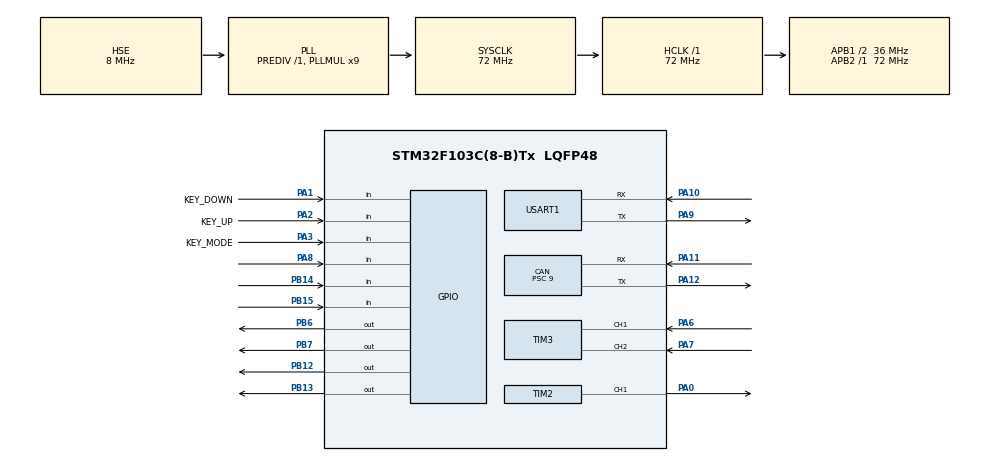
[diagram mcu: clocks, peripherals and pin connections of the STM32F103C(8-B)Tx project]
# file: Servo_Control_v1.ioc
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CAN.BS1=CAN_BS1_5TQ
CAN.BS2=CAN_BS2_2TQ
CAN.CalculateBaudRate=500000
CAN.CalculateTimeBit=2000
CAN.CalculateTimeQuantum=250.0
CAN.Prescaler=9
Mcu.Family=STM32F1
Mcu.Name=STM32F103C(8-B)Tx
Mcu.Package=LQFP48
NVIC.PriorityGroup=NVIC_PRIORITYGROUP_4
NVIC.TIM1_UP_IRQn=true\:0\:0\:false\:false\:true\:true\:true\:true
PA0-WKUP.Signal=S_TIM2_CH1_ETR
PA1.GPIO_Label=KEY_DOWN
PA1.GPIO_PuPd=GPIO_PULLUP
PA1.Signal=GPIO_Input
PA10.Mode=Asynchronous
PA10.Signal=USART1_RX
PA11.Mode=CAN_Activate
PA11.Signal=CAN_RX
PA12.Mode=CAN_Activate
PA12.Signal=CAN_TX
PA13.Mode=Serial_Wire
PA13.Signal=SYS_JTMS-SWDIO
PA14.Mode=Serial_Wire
PA14.Signal=SYS_JTCK-SWCLK
PA2.GPIO_Label=KEY_UP
PA2.GPIO_PuPd=GPIO_PULLUP
PA2.Signal=GPIO_Input
PA3.GPIO_Label=KEY_MODE
PA3.GPIO_PuPd=GPIO_PULLUP
PA3.Signal=GPIO_Input
PA6.Signal=S_TIM3_CH1
PA7.Signal=S_TIM3_CH2
PA8.GPIO_PuPd=GPIO_PULLUP
PA8.Signal=GPIO_Input
PA9.Mode=Asynchronous
PA9.Signal=USART1_TX
PB12.Signal=GPIO_Output
PB13.Signal=GPIO_Output
PB14.GPIO_PuPd=GPIO_PULLUP
PB14.Signal=GPIO_Input
PB15.GPIO_PuPd=GPIO_PULLUP
PB15.Signal=GPIO_Input
PB6.GPIO_ModeDefaultOutputPP=GPIO_MODE_OUTPUT_OD
PB6.GPIO_PuPd=GPIO_NOPULL
PB6.Signal=GPIO_Output
PB7.GPIO_ModeDefaultOutputPP=GPIO_MODE_OUTPUT_OD
PB7.GPIO_PuPd=GPIO_NOPULL
PB7.Signal=GPIO_Output
PD0-OSC_IN.Mode=HSE-External-Oscillator
PD0-OSC_IN.Signal=RCC_OSC_IN
PD1-OSC_OUT.Mode=HSE-External-Oscillator
PD1-OSC_OUT.Signal=RCC_OSC_OUT
ProjectManager.HeapSize=0x200
ProjectManager.StackSize=0x400
ProjectManager.TargetToolchain=MDK-ARM V5.32
RCC.AHBFreq_Value=72000000
RCC.APB1CLKDivider=RCC_HCLK_DIV2
RCC.APB1Freq_Value=36000000
RCC.APB1TimFreq_Value=72000000
RCC.APB2Freq_Value=72000000
RCC.APB2TimFreq_Value=72000000
RCC.HCLKFreq_Value=72000000
RCC.PLLMUL=RCC_PLL_MUL9
RCC.PLLSourceVirtual=RCC_PLLSOURCE_HSE
RCC.SYSCLKFreq_VALUE=72000000
RCC.SYSCLKSource=RCC_SYSCLKSOURCE_PLLCLK
RCC.USBFreq_Value=72000000
SH.S_TIM2_CH1_ETR.0=TIM2_CH1,PWM Generation1 CH1
SH.S_TIM3_CH1.0=TIM3_CH1,Encoder_Interface
SH.S_TIM3_CH2.0=TIM3_CH2,Encoder_Interface
TIM1.Period=999
TIM1.Prescaler=71
TIM2.Channel-PWM\ Generation1\ CH1=TIM_CHANNEL_1
TIM2.Period=7199
TIM3.EncoderMode=TIM_ENCODERMODE_TI12
TIM3.IC1Filter=4
TIM3.IC2Filter=10
USART1.VirtualMode=VM_ASYNC
VP_TIM1_VS_ClockSourceINT.Mode=Internal
board=custom

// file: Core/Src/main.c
/* USER CODE BEGIN Header */
/**
  ******************************************************************************
  * @file           : main.c
  * @brief          : Main program body (Modularized Version)
  ******************************************************************************
  */
/* USER CODE END Header */
#include "main.h"
#include "can.h"
#include "tim.h"
#include "usart.h"
#include "gpio.h"

/* USER CODE BEGIN Includes */
#include "OLED.h"
#include "motor.h"
#include "key.h"
#include "vofa.h"

#include "app_ui.h"
#include "app_ctrl.h"

#include <stdio.h>
#include <math.h> // fmod
/* USER CODE END Includes */

/* USER CODE BEGIN PV */
uint32_t lcd_timer = 0;  // 屏幕刷新计时
uint32_t vofa_timer = 0; // 上位机发送计时
/* USER CODE END PV */

void SystemClock_Config(void);

int main(void)
{

  /* MCU Configuration--------------------------------------------------------*/

  /* Reset of all peripherals, Initializes the Flash interface and the Systick. */
  HAL_Init();

  /* Configure the system clock */
  SystemClock_Config();

  /* Initialize all configured peripherals */
  MX_GPIO_Init();
  MX_CAN_Init();
  MX_TIM1_Init();
  MX_TIM2_Init();
  MX_USART1_UART_Init();
  MX_TIM3_Init();
  /* USER CODE BEGIN 2 */

  // --- 硬件初始化 ---
  OLED_Init();
  OLED_Clear();
  Motor_Init();

  // 设定 PWM 频率为 20kHz (静音)
  __HAL_TIM_SET_AUTORELOAD(&htim2, 3599);

  // --- 软件模块初始化 ---
  App_Ctrl_Init(); // 初始化 PID 和变量

  // --- 绘制 UI 静态框架 ---
  OLED_ShowString(0, 0, "PID Servo", OLED_8X16);
  OLED_ShowString(0, 16, "Tgt:", OLED_8X16);
  OLED_ShowString(0, 32, "Cur:", OLED_8X16);
  OLED_ShowString(0, 48, "PWM:", OLED_8X16);
  OLED_Update();

  // --- 启动定时器中断 (心脏开始跳动) ---
  HAL_TIM_Base_Start_IT(&htim1);

  /* USER CODE END 2 */

  /* Infinite loop */
  while (1)
  {

    /* USER CODE BEGIN 3 */
      // =========================================================
      // 1. 按键处理 (只负责发令)
      // =========================================================
      uint8_t key = Key_Scan(); // 扫描按键

      // 情况 A: 短按 Mode 键 -> 切换模式
      if (key == KEY_MODE_SHORT)
      {
          // 强制类型转换消除警告
          App_Ctrl_SetMode((SystemMode_t)(current_mode + 1));
          OLED_Clear(); // 刷屏
      }
      // 情况 B: 其他有效按键 (长按Mode, 短按/长按 Up/Down)
      else if (key != KEY_NONE)
      {
          // 全部甩给 app_ctrl.c 里的逻辑去处理
          // 那里包含了：一键回原点、演示模式、速度跳变等逻辑
          App_Ctrl_KeyHandler(key);
      }
      // =========================================================
      // 2. 屏幕显示 (只负责显示)
      // =========================================================
      if (HAL_GetTick() - lcd_timer > 100)
      {
          lcd_timer = HAL_GetTick();
          App_UI_Refresh();
      }

      // =========================================================
      // 3. 上位机波形发送
      // =========================================================
      if (HAL_GetTick() - vofa_timer > 10)
      {
          vofa_timer = HAL_GetTick();
          float send_tgt = (current_mode == MODE_POS) ? target_val_pos : target_val_spd;
          VOFA_JustFloat(send_tgt, g_MotorState.total_angle, g_MotorState.current_speed);
      }
  }
  /* USER CODE END 3 */
}

void SystemClock_Config(void)
{
  RCC_OscInitTypeDef RCC_OscInitStruct = {0};
  RCC_ClkInitTypeDef RCC_ClkInitStruct = {0};

  /** Initializes the RCC Oscillators according to the specified parameters
  * in the RCC_OscInitTypeDef structure.
  */
  RCC_OscInitStruct.OscillatorType = RCC_OSCILLATORTYPE_HSE;
  RCC_OscInitStruct.HSEState = RCC_HSE_ON;
  RCC_OscInitStruct.HSEPredivValue = RCC_HSE_PREDIV_DIV1;
  RCC_OscInitStruct.HSIState = RCC_HSI_ON;
  RCC_OscInitStruct.PLL.PLLState = RCC_PLL_ON;
  RCC_OscInitStruct.PLL.PLLSource = RCC_PLLSOURCE_HSE;
  RCC_OscInitStruct.PLL.PLLMUL = RCC_PLL_MUL9;
  if (HAL_RCC_OscConfig(&RCC_OscInitStruct) != HAL_OK)
  {
    Error_Handler();
  }

  /** Initializes the CPU, AHB and APB buses clocks
  */
  RCC_ClkInitStruct.ClockType = RCC_CLOCKTYPE_HCLK|RCC_CLOCKTYPE_SYSCLK
                              |RCC_CLOCKTYPE_PCLK1|RCC_CLOCKTYPE_PCLK2;
  RCC_ClkInitStruct.SYSCLKSource = RCC_SYSCLKSOURCE_PLLCLK;
  RCC_ClkInitStruct.AHBCLKDivider = RCC_SYSCLK_DIV1;
  RCC_ClkInitStruct.APB1CLKDivider = RCC_HCLK_DIV2;
  RCC_ClkInitStruct.APB2CLKDivider = RCC_HCLK_DIV1;

  if (HAL_RCC_ClockConfig(&RCC_ClkInitStruct, FLASH_LATENCY_2) != HAL_OK)
  {
    Error_Handler();
  }
}

/* USER CODE BEGIN 4 */
// =========================================================
// 4. 中断回调 (现在只负责调用 App_Ctrl)
// =========================================================
void HAL_TIM_PeriodElapsedCallback(TIM_HandleTypeDef *htim)
{
    static uint8_t loop_divider = 0;

    if (htim->Instance == TIM1)
    {
        // 10ms 分频
        loop_divider++;
        if (loop_divider < 10) return;
        loop_divider = 0;

        // 🔥 调用控制层核心 🔥
        App_Ctrl_Loop_10ms();
    }
}
/* USER CODE END 4 */

void Error_Handler(void)
{
  __disable_irq();
  while (1)
  {
  }
}
